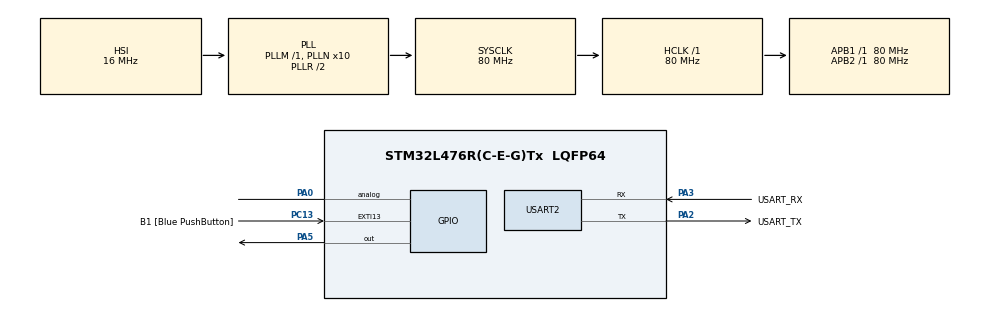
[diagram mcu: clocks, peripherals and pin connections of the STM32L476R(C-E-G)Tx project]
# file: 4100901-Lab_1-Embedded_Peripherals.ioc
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Mcu.Family=STM32L4
Mcu.Name=STM32L476R(C-E-G)Tx
Mcu.Package=LQFP64
NVIC.EXTI15_10_IRQn=true\:0\:0\:false\:false\:true\:true\:true\:true
NVIC.PriorityGroup=NVIC_PRIORITYGROUP_4
NVIC.USART2_IRQn=true\:0\:0\:false\:false\:true\:true\:true\:true
PA0.Signal=GPIO_Analog
PA13\ (JTMS-SWDIO).GPIO_Label=TMS
PA13\ (JTMS-SWDIO).Mode=Serial_Wire
PA13\ (JTMS-SWDIO).Signal=SYS_JTMS-SWDIO
PA14\ (JTCK-SWCLK).GPIO_Label=TCK
PA14\ (JTCK-SWCLK).Mode=Serial_Wire
PA14\ (JTCK-SWCLK).Signal=SYS_JTCK-SWCLK
PA2.GPIO_Label=USART_TX
PA2.GPIO_Mode=GPIO_MODE_AF_PP
PA2.GPIO_PuPd=GPIO_NOPULL
PA2.GPIO_Speed=GPIO_SPEED_FREQ_VERY_HIGH
PA2.Mode=Asynchronous
PA2.Signal=USART2_TX
PA3.GPIO_Label=USART_RX
PA3.GPIO_Mode=GPIO_MODE_AF_PP
PA3.GPIO_PuPd=GPIO_NOPULL
PA3.GPIO_Speed=GPIO_SPEED_FREQ_VERY_HIGH
PA3.Mode=Asynchronous
PA3.Signal=USART2_RX
PA5.Signal=GPIO_Output
PB3\ (JTDO-TRACESWO).GPIO_Label=SWO
PB3\ (JTDO-TRACESWO).Signal=SYS_JTDO-SWO
PC13.GPIO_Label=B1 [Blue PushButton]
PC13.GPIO_ModeDefaultEXTI=GPIO_MODE_IT_FALLING
PC13.GPIO_PuPd=GPIO_NOPULL
PC13.Signal=GPXTI13
PC14-OSC32_IN\ (PC14).Mode=LSE-External-Oscillator
PC14-OSC32_IN\ (PC14).Signal=RCC_OSC32_IN
PC15-OSC32_OUT\ (PC15).Mode=LSE-External-Oscillator
PC15-OSC32_OUT\ (PC15).Signal=RCC_OSC32_OUT
PH0-OSC_IN\ (PH0).Signal=RCC_OSC_IN
PH1-OSC_OUT\ (PH1).Signal=RCC_OSC_OUT
ProjectManager.HeapSize=0x200
ProjectManager.StackSize=0x400
ProjectManager.TargetToolchain=CMake
RCC.ADCFreq_Value=64000000
RCC.AHBFreq_Value=80000000
RCC.APB1Freq_Value=80000000
RCC.APB1TimFreq_Value=80000000
RCC.APB2Freq_Value=80000000
RCC.APB2TimFreq_Value=80000000
RCC.CortexFreq_Value=80000000
RCC.HCLKFreq_Value=80000000
RCC.HSE_VALUE=8000000
RCC.HSI_VALUE=16000000
RCC.MSI_VALUE=4000000
RCC.PLLN=10
RCC.PLLSourceVirtual=RCC_PLLSOURCE_HSI
RCC.PREFETCH_ENABLE=1
RCC.SYSCLKFreq_VALUE=80000000
RCC.SYSCLKSource=RCC_SYSCLKSOURCE_PLLCLK
RCC.USBFreq_Value=64000000
RCC.VCOOutputFreq_Value=160000000
USART2.VirtualMode-Asynchronous=VM_ASYNC
board=NUCLEO-L476RG

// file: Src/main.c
/* USER CODE BEGIN Header */
/**
  ******************************************************************************
  * @file           : main.c
  * @brief          : Main program body
  ******************************************************************************
  * @attention
  *
  * (… licencias …)
  *
  ******************************************************************************
  */
/* USER CODE END Header */
#include "main.h"

UART_HandleTypeDef huart2;

/* USER CODE BEGIN PV */
volatile uint8_t led_on = 0;       // Flag de estado del LED
volatile uint8_t send_hello = 0;    // Bandera para enviar mensaje
uint32_t led_start_time = 0;       // Tiempo de inicio
/* USER CODE END PV */

void SystemClock_Config(void);
static void MX_GPIO_Init(void);
static void MX_USART2_UART_Init(void);

int main(void)
{

  /* MCU Configuration--------------------------------------------------------*/

  /* Reset of all peripherals, Initializes the Flash interface and the Systick. */
  HAL_Init();

  /* Configure the system clock */
  SystemClock_Config();

  /* Initialize all configured peripherals */
  MX_GPIO_Init();
  MX_USART2_UART_Init();
  /* USER CODE BEGIN 2 */
  HAL_UART_Transmit(&huart2, (uint8_t*)"Hello World\r\n", 13, HAL_MAX_DELAY);
  /* USER CODE END 2 */

  /* Infinite loop */
  /* USER CODE BEGIN WHILE */
  while (1)
  {
    if (send_hello)
    {
    HAL_UART_Transmit(&huart2, (uint8_t*)"Hello World\r\n", 13, HAL_MAX_DELAY);
    send_hello = 0;
    }
    if (led_on && (HAL_GetTick() - led_start_time >= 3000))
    {
    HAL_GPIO_WritePin(GPIOA, GPIO_PIN_5, GPIO_PIN_RESET); // Apagar LED
    led_on = 0;                                           // Marcar como apagado
    }

    /* USER CODE END WHILE */

  }
}

void SystemClock_Config(void)
{
  RCC_OscInitTypeDef RCC_OscInitStruct = {0};
  RCC_ClkInitTypeDef RCC_ClkInitStruct = {0};

  /** Configure the main internal regulator output voltage
  */
  if (HAL_PWREx_ControlVoltageScaling(PWR_REGULATOR_VOLTAGE_SCALE1) != HAL_OK)
  {
    Error_Handler();
  }

  /** Initializes the RCC Oscillators according to the specified parameters
  * in the RCC_OscInitTypeDef structure.
  */
  RCC_OscInitStruct.OscillatorType = RCC_OSCILLATORTYPE_HSI;
  RCC_OscInitStruct.HSIState = RCC_HSI_ON;
  RCC_OscInitStruct.HSICalibrationValue = RCC_HSICALIBRATION_DEFAULT;
  RCC_OscInitStruct.PLL.PLLState = RCC_PLL_ON;
  RCC_OscInitStruct.PLL.PLLSource = RCC_PLLSOURCE_HSI;
  RCC_OscInitStruct.PLL.PLLM = 1;
  RCC_OscInitStruct.PLL.PLLN = 10;
  RCC_OscInitStruct.PLL.PLLP = RCC_PLLP_DIV7;
  RCC_OscInitStruct.PLL.PLLQ = RCC_PLLQ_DIV2;
  RCC_OscInitStruct.PLL.PLLR = RCC_PLLR_DIV2;
  if (HAL_RCC_OscConfig(&RCC_OscInitStruct) != HAL_OK)
  {
    Error_Handler();
  }

  /** Initializes the CPU, AHB and APB buses clocks
  */
  RCC_ClkInitStruct.ClockType = RCC_CLOCKTYPE_HCLK|RCC_CLOCKTYPE_SYSCLK
                              |RCC_CLOCKTYPE_PCLK1|RCC_CLOCKTYPE_PCLK2;
  RCC_ClkInitStruct.SYSCLKSource = RCC_SYSCLKSOURCE_PLLCLK;
  RCC_ClkInitStruct.AHBCLKDivider = RCC_SYSCLK_DIV1;
  RCC_ClkInitStruct.APB1CLKDivider = RCC_HCLK_DIV1;
  RCC_ClkInitStruct.APB2CLKDivider = RCC_HCLK_DIV1;

  if (HAL_RCC_ClockConfig(&RCC_ClkInitStruct, FLASH_LATENCY_4) != HAL_OK)
  {
    Error_Handler();
  }
}

static void MX_USART2_UART_Init(void)
{

  huart2.Instance = USART2;
  huart2.Init.BaudRate = 921600;
  huart2.Init.WordLength = UART_WORDLENGTH_8B;
  huart2.Init.StopBits = UART_STOPBITS_1;
  huart2.Init.Parity = UART_PARITY_NONE;
  huart2.Init.Mode = UART_MODE_TX_RX;
  huart2.Init.HwFlowCtl = UART_HWCONTROL_NONE;
  huart2.Init.OverSampling = UART_OVERSAMPLING_16;
  huart2.Init.OneBitSampling = UART_ONE_BIT_SAMPLE_DISABLE;
  huart2.AdvancedInit.AdvFeatureInit = UART_ADVFEATURE_NO_INIT;
  if (HAL_UART_Init(&huart2) != HAL_OK)
  {
    Error_Handler();
  }

}

static void MX_GPIO_Init(void)
{
  GPIO_InitTypeDef GPIO_InitStruct = {0};

  /* GPIO Ports Clock Enable */
  __HAL_RCC_GPIOC_CLK_ENABLE();
  __HAL_RCC_GPIOH_CLK_ENABLE();
  __HAL_RCC_GPIOA_CLK_ENABLE();
  __HAL_RCC_GPIOB_CLK_ENABLE();

  /*Configure GPIO pin Output Level */
  HAL_GPIO_WritePin(GPIOA, GPIO_PIN_5, GPIO_PIN_RESET);

  /*Configure GPIO pin : B1_Pin */
  GPIO_InitStruct.Pin = B1_Pin;
  GPIO_InitStruct.Mode = GPIO_MODE_IT_FALLING;
  GPIO_InitStruct.Pull = GPIO_NOPULL;
  HAL_GPIO_Init(B1_GPIO_Port, &GPIO_InitStruct);

  /*Configure GPIO pin : PA0 */
  GPIO_InitStruct.Pin = GPIO_PIN_0;
  GPIO_InitStruct.Mode = GPIO_MODE_ANALOG;
  GPIO_InitStruct.Pull = GPIO_NOPULL;
  HAL_GPIO_Init(GPIOA, &GPIO_InitStruct);

  /*Configure GPIO pin : PA5 */
  GPIO_InitStruct.Pin = GPIO_PIN_5;
  GPIO_InitStruct.Mode = GPIO_MODE_OUTPUT_PP;
  GPIO_InitStruct.Pull = GPIO_NOPULL;
  GPIO_InitStruct.Speed = GPIO_SPEED_FREQ_LOW;
  HAL_GPIO_Init(GPIOA, &GPIO_InitStruct);

  /* EXTI interrupt init*/
  HAL_NVIC_SetPriority(EXTI15_10_IRQn, 0, 0);
  HAL_NVIC_EnableIRQ(EXTI15_10_IRQn);

  /* USER CODE BEGIN MX_GPIO_Init_2 */
  GPIO_InitStruct.Pin = GPIO_PIN_2;
  GPIO_InitStruct.Mode = GPIO_MODE_AF_PP;          // Función alternativa push-pull
  GPIO_InitStruct.Pull = GPIO_NOPULL;
  GPIO_InitStruct.Speed = GPIO_SPEED_FREQ_HIGH;    // Alta velocidad para UART
  GPIO_InitStruct.Alternate = GPIO_AF7_USART2;     // AF7 para USART2 en PA2
  HAL_GPIO_Init(GPIOA, &GPIO_InitStruct);
  /* Habilitamos la interrupción EXTI15_10 que incluye PC13 */
  HAL_NVIC_SetPriority(EXTI15_10_IRQn, 0, 0);
  HAL_NVIC_EnableIRQ(EXTI15_10_IRQn);
  /* USER CODE END MX_GPIO_Init_2 */
}

/* USER CODE BEGIN 4 */
/**
  * @brief  Esta función se ejecuta cuando ocurre la interrupción GPIO EXTI
  *         (en este caso, al presionar el pulsador en PC13).
  * @param  GPIO_Pin: pin que generó la interrupción
  * @retval None
  */
void HAL_GPIO_EXTI_Callback(uint16_t GPIO_Pin)
{
  if (GPIO_Pin == B1_Pin)
  {
    if (!led_on) // Solo reaccionar si el LED no está encendido
    {
      HAL_GPIO_WritePin(GPIOA, GPIO_PIN_5, GPIO_PIN_SET); // Encender LED
      led_on = 1;                                         // Marcar como encendido
      led_start_time = HAL_GetTick();                     // Registrar tiempo de inicio
      send_hello = 1;                                     // Activar bandera para enviar mensaje
    }
  }
}
/**
  * @brief  Esta rutina de atención al vector EXTI15_10 llama por defecto a
  *         HAL_GPIO_EXTI_IRQHandler para pin 13.
  */
void EXTI15_10_IRQHandler(void)
{
  HAL_GPIO_EXTI_IRQHandler(GPIO_PIN_13);
}
/* USER CODE END 4 */

void Error_Handler(void)
{
  __disable_irq();
  while (1)
  {
  }
}

#ifdef  USE_FULL_ASSERT
/**
  * @brief  Reports the name of the source file and the source line number
  *         where the assert_param error has occurred.
  * @param  file: pointer to the source file name
  * @param  line: assert_param error line source number
  * @retval None
  */
void assert_failed(uint8_t *file, uint32_t line)
{
  /* USER CODE BEGIN 6 */
  /* Aquí puedes manejar fallos de aserción si lo deseas */
  /* USER CODE END 6 */
}
#endif /* USE_FULL_ASSERT */
